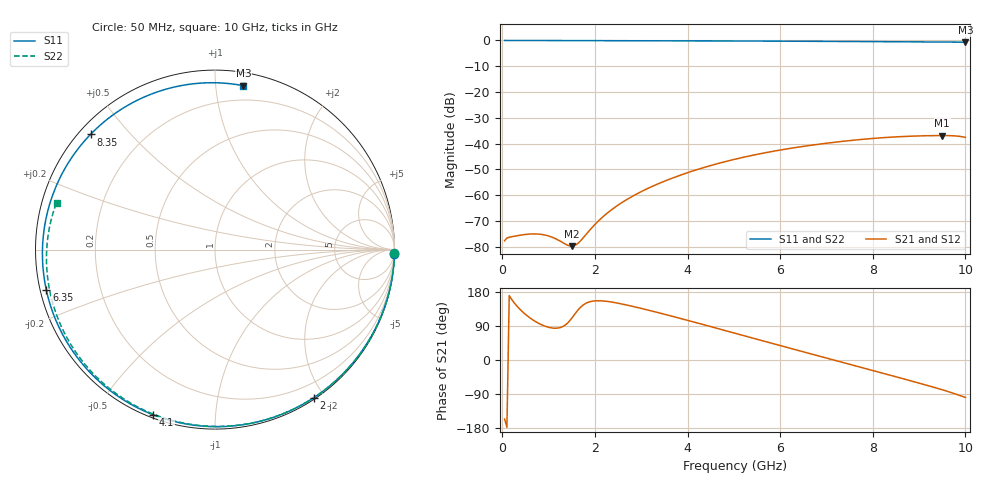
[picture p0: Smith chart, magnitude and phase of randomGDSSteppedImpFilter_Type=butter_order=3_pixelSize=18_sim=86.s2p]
! freq	dB(S11)	phase(S11)	dB(S12)	phase(S12)
!  dB(S21)	phase(S21)	dB(S22)	phase(S22)
!S-par simulation data
#  GHz  S  DB  R 50
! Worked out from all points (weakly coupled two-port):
!   200 points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, 50 MHz to 10 GHz, reference 50 ohm
!   highest |S21| = -36.88 dB at 9.5 GHz (marker M1); lowest = -79.8 dB at 1.5 GHz (marker M2)
!   lowest |S11| = -0.7 dB at 10 GHz (marker M3), VSWR 26.32, Z = 4.57 + j59.2 ohm
!   |S11| at or under -10 dB: nowhere
!   |S22| runs from -0.7 to 0.0 dB; largest |S21 - S12| = 0
!   S11 on the Smith chart (normalised r, x): 50 MHz: 0, -79; 2 GHz: 0.02, -1.87; 4.1 GHz: 0.01, -0.69; 6.35 GHz: 0.02, -0.12; 8.35 GHz: 0.03, +0.39; 10 GHz: 0.09, +1.18
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0.05  -0.00 -1.4  -77.67 -155.9  -77.67 -155.9  -0.00 -1.1
0.1  -0.00 -2.9  -76.62 -177.5  -76.62 -177.5  -0.00 -2.1
0.2  -0.00 -5.8  -76.13 160.3  -76.13 160.3  -0.00 -4.2
0.8  -0.03 -23.0  -75.12 95.8  -75.12 95.8  -0.02 -16.7
1.05  -0.04 -30.0  -76.13 85.0  -76.13 85.0  -0.03 -21.9
1.5  -0.05 -42.5  -79.79 110.3  -79.79 110.3  -0.04 -31.1
1.6  -0.06 -45.3  -79.16 126.7  -79.16 126.7  -0.04 -33.1
1.75  -0.06 -49.4  -76.50 145.4  -76.50 145.4  -0.05 -36.2
2  -0.07 -56.2  -71.37 156.0  -71.37 156.0  -0.05 -41.2
2.3  -0.08 -64.3  -66.48 154.1  -66.48 154.1  -0.06 -47.2
2.6  -0.09 -72.2  -62.68 147.4  -62.68 147.4  -0.07 -53.1
3.4  -0.12 -92.9  -55.34 123.9  -55.34 123.9  -0.09 -68.6
4.1  -0.15 -110.5  -50.69 101.4  -50.69 101.4  -0.11 -81.7
5.05  -0.20 -133.9  -45.95 69.8  -45.95 69.8  -0.15 -99.1
5.7  -0.25 -150.0  -43.48 48.0  -43.48 48.0  -0.19 -110.7
6.35  -0.30 -166.5  -41.48 26.5  -41.48 26.5  -0.23 -122.3
6.7  -0.33 -175.6  -40.56 15.1  -40.56 15.1  -0.25 -128.6
7.55  -0.41 161.1  -38.74 -12.7  -38.74 -12.7  -0.33 -144.0
8.35  -0.49 137.2  -37.56 -39.2  -37.56 -39.2  -0.41 -159.1
8.95  -0.56 117.7  -37.05 -59.3  -37.05 -59.3  -0.49 -171.4
9.5  -0.61 98.5  -36.88 -78.5  -36.88 -78.5  -0.59 176.4
10  -0.66 80.2  -37.59 -98.7  -37.59 -98.7  -0.72 163.5
